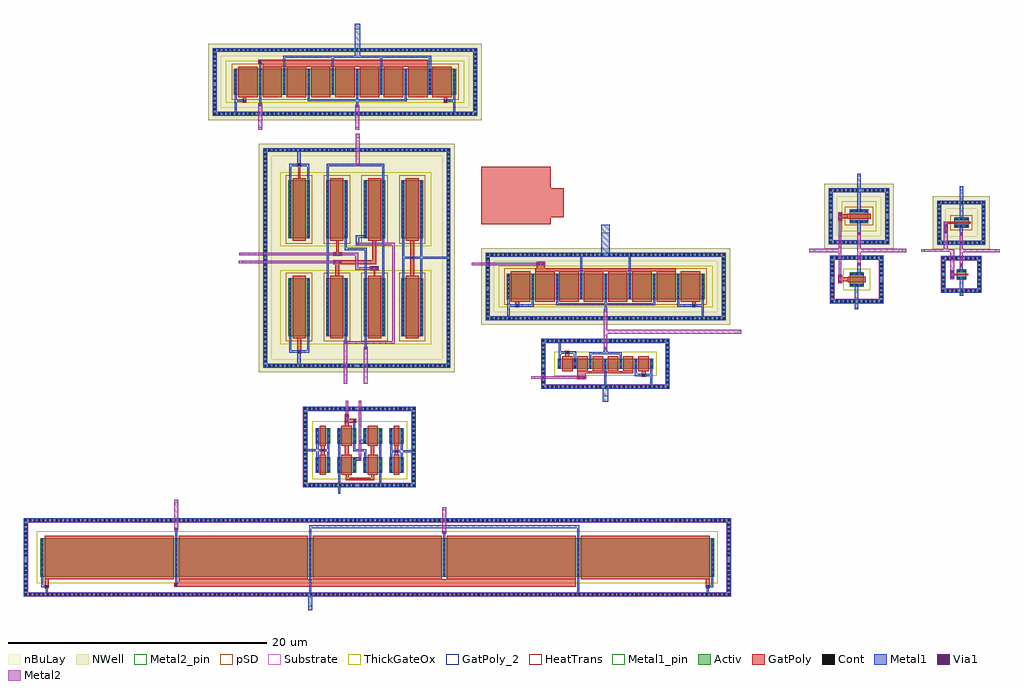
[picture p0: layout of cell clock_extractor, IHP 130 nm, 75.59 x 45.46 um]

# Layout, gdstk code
from math import pi, radians
import gdstk
lib = gdstk.Library(unit=1e-6, precision=5e-09)
def R(c, l, rs):  # rectangles x0, y0, x1, y1
    for r in rs: c.add(gdstk.rectangle(r[:2], r[2:], *l))
def A(c, l, x, y, w, h, nx, ny, dx, dy):  # array of equal rectangles
    R(c, l, [(x+i*dx, y+j*dy, x+i*dx+w, y+j*dy+h) for i in range(nx) for j in range(ny)])
def P(c, l, *ps):  # polygons
    for p in ps: c.add(gdstk.Polygon(p, *l))
Activ = (1, 0)
GatPoly = (5, 0)
GatPoly_2 = (5, 2)
Cont = (6, 0)
Metal1 = (8, 0)
Metal1_pin = (8, 2)
Metal2 = (10, 0)
Metal2_pin = (10, 2)
pSD = (14, 0)
Via1 = (19, 0)
NWell = (31, 0)
nBuLay = (32, 0)
Substrate = (40, 0)
ThickGateOx = (44, 0)
HeatTrans = (51, 0)

nmoshv_4 = lib.new_cell('nmosHV$4')
R(nmoshv_4, Activ, [(0,0,0.3,0.3), (0,0,1.48,1.2), (1.18,0,1.48,0.3)])
R(nmoshv_4, GatPoly, [(0.34,-0.18,1.14,1.38)])
R(nmoshv_4, GatPoly_2, [(0.34,-0.18,1.14,1.38)])
A(nmoshv_4, Cont, 0.07, 0.07, 0.16, 0.16, 1, 3, 0, 0.45)
A(nmoshv_4, Cont, 1.25, 0.07, 0.16, 0.16, 1, 3, 0, 0.45)
R(nmoshv_4, Metal1, [(0.07,0,0.23,1.2), (1.25,0,1.41,1.2)])
R(nmoshv_4, Metal1_pin, [(0.07,0,0.23,1.2), (1.25,0,1.41,1.2)])
R(nmoshv_4, ThickGateOx, [(-0.27,-0.52,1.75,1.72)])
R(nmoshv_4, HeatTrans, [(0.34,-0.18,1.14,1.38)])
nmoshv_4.add(gdstk.Label('nmosHV', (0.74,0.6), layer=63, texttype=0))
nmoshv_4.add(gdstk.Label('nmosHV', (0.74,0.6), layer=51, texttype=0))

nmoshv_6 = lib.new_cell('nmosHV$6')
R(nmoshv_6, Activ, [(0,0,0.3,0.3), (0,0,1.13,1.2), (0.83,0,1.13,0.3)])
R(nmoshv_6, GatPoly, [(0.34,-0.18,0.79,1.38)])
R(nmoshv_6, GatPoly_2, [(0.34,-0.18,0.79,1.38)])
A(nmoshv_6, Cont, 0.07, 0.07, 0.16, 0.16, 1, 3, 0, 0.45)
A(nmoshv_6, Cont, 0.9, 0.07, 0.16, 0.16, 1, 3, 0, 0.45)
R(nmoshv_6, Metal1, [(0.07,0,0.23,1.2), (0.9,0,1.06,1.2)])
R(nmoshv_6, Metal1_pin, [(0.07,0,0.23,1.2), (0.9,0,1.06,1.2)])
R(nmoshv_6, ThickGateOx, [(-0.27,-0.52,1.4,1.72)])
R(nmoshv_6, HeatTrans, [(0.34,-0.18,0.79,1.38)])
nmoshv_6.add(gdstk.Label('nmosHV', (0.565,0.6), layer=63, texttype=0))
nmoshv_6.add(gdstk.Label('nmosHV', (0.565,0.6), layer=51, texttype=0))

via_stack = lib.new_cell('via_stack')
R(via_stack, Metal1, [(-0.145,-0.105,0.145,0.105)])
R(via_stack, Metal2, [(-0.145,-0.1,0.145,0.1)])
R(via_stack, Via1, [(-0.095,-0.095,0.095,0.095)])

via_stack_5 = lib.new_cell('via_stack$5')
R(via_stack_5, GatPoly, [(-0.15,-0.15,0.15,0.15)])
R(via_stack_5, Cont, [(-0.08,-0.08,0.08,0.08)])
R(via_stack_5, Metal1, [(-0.13,-0.08,0.13,0.08)])

via_stack_3 = lib.new_cell('via_stack$3')
R(via_stack_3, GatPoly, [(-0.32,-0.15,0.32,0.15)])
R(via_stack_3, Cont, [(-0.25,-0.08,-0.09,0.08), (0.09,-0.08,0.25,0.08)])
R(via_stack_3, Metal1, [(-0.35,-0.105,0.35,0.105)])
R(via_stack_3, Metal2, [(-0.35,-0.1,0.35,0.1)])
R(via_stack_3, Via1, [(-0.3,-0.095,-0.11,0.095), (0.11,-0.095,0.3,0.095)])

guard_ring_6 = lib.new_cell('guard_ring$6')
R(guard_ring_6, Activ, [(-4.35,-2.8,-4.05,2.8), (4.05,-2.8,4.35,2.8), (-4.35,2.8,4.35,3.1)])
P(guard_ring_6, Activ, [(-4.35,-3.1),(-4.35,2.8),(-4.05,2.8),(-4.05,-2.8),(4.05,-2.8),(4.05,2.8),(-4.35,2.8),(-4.35,3.1),(4.35,3.1),(4.35,-3.1)])
A(guard_ring_6, Cont, -4.28, -3.03, 0.16, 0.16, 12, 2, 0.34, 5.9)
A(guard_ring_6, Cont, 0.04, -3.03, 0.16, 0.16, 13, 2, 0.34, 5.9)
A(guard_ring_6, Cont, -4.28, -2.69, 0.16, 0.16, 1, 8, 0, 0.34)
A(guard_ring_6, Cont, 4.12, -2.69, 0.16, 0.16, 1, 8, 0, 0.34)
A(guard_ring_6, Cont, -4.28, 0.15, 0.16, 0.16, 1, 8, 0, 0.34)
A(guard_ring_6, Cont, 4.12, 0.15, 0.16, 0.16, 1, 8, 0, 0.34)
R(guard_ring_6, Metal1, [(-4.35,-3.1,4.35,-2.8), (-4.35,-2.8,-4.05,2.8), (4.05,-2.8,4.35,2.8), (-4.35,2.8,4.35,3.1)])
R(guard_ring_6, pSD, [(-4.38,-2.77,-4.02,2.77), (4.02,-2.77,4.38,2.77), (-4.38,2.77,4.38,3.13)])
P(guard_ring_6, pSD, [(-4.38,-3.13),(-4.38,2.77),(-4.02,2.77),(-4.02,-2.77),(4.02,-2.77),(4.02,2.77),(-4.38,2.77),(-4.38,3.13),(4.38,3.13),(4.38,-3.13)])
R(guard_ring_6, Substrate, [(-4.38,-2.77,-4.02,2.77), (4.02,-2.77,4.38,2.77), (-4.38,2.77,4.38,3.13)])
P(guard_ring_6, Substrate, [(-4.38,-3.13),(-4.38,2.77),(-4.02,2.77),(-4.02,-2.77),(4.02,-2.77),(4.02,2.77),(-4.38,2.77),(-4.38,3.13),(4.38,3.13),(4.38,-3.13)])
guard_ring_6.add(gdstk.Label('sub!', (0,-2.95), layer=63, texttype=0))

current_mirror_loadn = lib.new_cell('current_mirror_loadN')
R(current_mirror_loadn, GatPoly, [(-0.515,-1.78,-0.26,-1.165), (-0.515,-1.78,1.705,-1.565), (1.465,-1.78,1.705,-1.165), (-2.43,0.035,-2.13,1.075), (-0.565,0.035,-0.265,1.075), (1.42,0.035,1.72,1.075), (3.285,0.035,3.585,1.075), (-0.565,2.455,-0.265,3.35)])
P(current_mirror_loadn, GatPoly, [(-0.565,2.68),(-0.565,2.98),(0.31,2.98),(0.31,2.68),(0.27,2.68)])
R(current_mirror_loadn, Metal1, [(-1.1,-2.805,-0.94,-0.935), (2.1,-2.29,2.26,-0.935), (0.08,-0.255,0.7,0.035), (-1.94,-0.205,-1.78,1.305), (-2.77,-0.195,-2.61,1.305), (-1.1,-0.195,-0.94,1.305), (0.92,-0.195,1.08,0.64), (2.1,-0.195,2.26,1.305), (2.94,-0.195,3.1,1.305), (3.77,-0.195,3.93,1.305), (2.94,0.385,3.585,0.545), (3.305,0.385,4.91,0.545), (0.08,0.475,1.08,0.64), (0.08,0.475,0.24,1.305), (-3.79,0.485,-1.78,0.645), (0.49,1.075,1.08,1.365), (0.08,2.275,0.24,2.7)])
R(current_mirror_loadn, Metal1_pin, [(-1.095,-2.805,-0.94,-2.65)])
R(current_mirror_loadn, Metal2, [(0.495,-0.255,0.695,1.285), (0.495,0.995,0.695,4.38), (-0.515,2.68,-0.315,4.395)])
R(current_mirror_loadn, Metal2_pin, [(-0.515,4.19,-0.315,4.395)])
P(current_mirror_loadn, Metal2_pin, [(0.495,4.195),(0.495,4.38),(0.695,4.38),(0.695,4.195),(0.645,4.195)])
current_mirror_loadn.add(gdstk.Reference(nmoshv_4, (0.85,1.075)))
current_mirror_loadn.add(gdstk.Reference(nmoshv_4, (-1.17,1.075)))
current_mirror_loadn.add(gdstk.Reference(nmoshv_6, (2.87,1.075)))
current_mirror_loadn.add(gdstk.Reference(nmoshv_6, (2.87,-1.165)))
current_mirror_loadn.add(gdstk.Reference(nmoshv_6, (-2.84,1.075)))
current_mirror_loadn.add(gdstk.Reference(nmoshv_6, (-2.84,-1.165)))
current_mirror_loadn.add(gdstk.Reference(nmoshv_4, (-1.17,-1.165)))
current_mirror_loadn.add(gdstk.Reference(via_stack, (0.595,-0.11), rotation=3*pi/2))
current_mirror_loadn.add(gdstk.Reference(nmoshv_4, (0.85,-1.165)))
current_mirror_loadn.add(gdstk.Reference(via_stack_5, (3.435,0.465)))
current_mirror_loadn.add(gdstk.Reference(via_stack_5, (-2.28,0.565)))
current_mirror_loadn.add(gdstk.Reference(via_stack, (0.595,1.22), rotation=3*pi/2))
current_mirror_loadn.add(gdstk.Reference(via_stack_5, (0.16,2.83), rotation=3*pi/2))
current_mirror_loadn.add(gdstk.Reference(via_stack_3, (-0.415,3.03), rotation=3*pi/2))
current_mirror_loadn.add(gdstk.Reference(guard_ring_6, (0.56,0.81)))
current_mirror_loadn.add(gdstk.Label('VSS', (-0.92,-2.835), layer=8, texttype=0))
current_mirror_loadn.add(gdstk.Label('drain_M11', (-0.285,4.385), layer=10, texttype=0))
current_mirror_loadn.add(gdstk.Label('drain_M10', (0.72,4.36), layer=10, texttype=0))

pmoshv_2 = lib.new_cell('pmosHV$2')
R(pmoshv_2, Activ, [(0,0,0.3,0.3), (0,0,1.68,4.5), (1.38,0,1.68,0.3)])
R(pmoshv_2, GatPoly, [(0.34,-0.18,1.34,4.68)])
R(pmoshv_2, GatPoly_2, [(0.34,-0.18,1.34,4.68)])
A(pmoshv_2, Cont, 0.07, 0.07, 0.16, 0.16, 1, 13, 0, 0.35)
A(pmoshv_2, Cont, 1.45, 0.07, 0.16, 0.16, 1, 13, 0, 0.35)
R(pmoshv_2, Metal1, [(0.07,0,0.23,4.5), (1.45,0,1.61,4.5)])
R(pmoshv_2, Metal1_pin, [(0.07,0,0.23,4.5), (1.45,0,1.61,4.5)])
R(pmoshv_2, pSD, [(-0.18,-0.4,1.86,4.9)])
R(pmoshv_2, NWell, [(-0.62,-0.62,2.3,5.12)])
R(pmoshv_2, Substrate, [(1.38,0,1.68,0.3)])
R(pmoshv_2, ThickGateOx, [(-0.62,-0.62,2.3,5.12)])
R(pmoshv_2, HeatTrans, [(0.34,-0.18,1.34,4.68)])
pmoshv_2.add(gdstk.Label('pmosHV', (0.84,2.25), layer=63, texttype=0))
pmoshv_2.add(gdstk.Label('pmos', (0.84,2.25), layer=51, texttype=0))

guard_ring_5 = lib.new_cell('guard_ring$5')
R(guard_ring_5, Activ, [(-7.25,-8.2,-6.95,8.2), (6.95,-8.2,7.25,8.2), (-7.25,8.2,7.25,8.5)])
P(guard_ring_5, Activ, [(-7.25,-8.5),(-7.25,8.2),(-6.95,8.2),(-6.95,-8.2),(6.95,-8.2),(6.95,8.2),(-7.25,8.2),(-7.25,8.5),(7.25,8.5),(7.25,-8.5)])
A(guard_ring_5, Cont, -7.18, -8.43, 0.16, 0.16, 21, 2, 0.34, 16.7)
A(guard_ring_5, Cont, 0.22, -8.43, 0.16, 0.16, 21, 2, 0.34, 16.7)
A(guard_ring_5, Cont, -7.18, -8.09, 0.16, 0.16, 1, 24, 0, 0.34)
A(guard_ring_5, Cont, 7.02, -8.09, 0.16, 0.16, 1, 24, 0, 0.34)
A(guard_ring_5, Cont, -7.18, 0.11, 0.16, 0.16, 1, 24, 0, 0.34)
A(guard_ring_5, Cont, 7.02, 0.11, 0.16, 0.16, 1, 24, 0, 0.34)
R(guard_ring_5, Metal1, [(-7.25,-8.5,7.25,-8.2), (-7.25,-8.2,-6.95,8.2), (6.95,-8.2,7.25,8.2), (-7.25,8.2,7.25,8.5)])
R(guard_ring_5, NWell, [(-7.6,-8.85,7.6,8.85)])
R(guard_ring_5, nBuLay, [(-7.6,-7.85,-6.6,7.85), (6.6,-7.85,7.6,7.85), (-7.6,7.85,7.6,8.85)])
P(guard_ring_5, nBuLay, [(-7.6,-8.85),(-7.6,7.85),(-6.6,7.85),(-6.6,-7.85),(6.6,-7.85),(6.6,7.85),(-7.6,7.85),(-7.6,8.85),(7.6,8.85),(7.6,-8.85)])
guard_ring_5.add(gdstk.Label('well', (0,-8.35), layer=63, texttype=0))

iput_diff = lib.new_cell('iput_diff')
R(iput_diff, GatPoly, [(1.125,2.14,1.27,2.975), (-1.83,2.555,-1.53,3.76), (3.96,2.555,4.26,5.26), (0.87,2.975,1.51,3.275), (-2,3.46,1.345,3.76), (1.025,3.76,1.345,5.735), (-1.995,4.08,-1.355,4.38), (-1.78,4.38,-1.575,5.26), (-4.72,10.12,-4.565,10.98), (-4.79,10.98,-4.49,11.28)])
P(iput_diff, GatPoly, [(-4.79,-3.465),(-4.79,-1.83),(-4.535,-1.83),(-4.49,-1.83),(-4.49,-3.465)])
R(iput_diff, Metal1, [(-4.77,-4.56,-4.51,-3.235), (-5.41,-3.395,-5.25,-1.895), (-5.41,-3.395,-4.77,-3.235), (-4.51,-3.395,-3.87,-3.235), (-4.03,-3.395,-3.87,-1.895), (0.365,-3.08,0.655,-2.935), (0.43,-2.935,0.59,-1.895), (-1.19,-2.71,-0.9,-2.505), (-1.11,-2.5,-0.95,-1.895), (-2.49,2.145,-2.33,5.67), (0.43,2.145,0.59,4.715), (1.81,2.145,1.97,5.44), (3.35,2.145,3.51,4.02), (4.73,2.145,4.89,4.02), (3.35,3.86,3.98,4.02), (3.35,3.86,3.51,5.67), (3.98,3.86,7.075,4.02), (4.73,3.86,4.89,5.67), (-1.11,4.535,-0.95,5.67), (-1.11,4.535,0.59,4.715), (-0.27,4.915,0.02,5.67), (-0.27,5.51,0.59,5.67), (-5.41,9.71,-5.25,11.21), (-4.03,9.71,-3.87,11.21), (-2.49,9.71,-2.33,11.24), (1.81,9.71,1.97,11.24), (-2.49,11.03,1.97,11.24), (-5.41,11.05,-4.51,11.21), (-4.77,11.05,-4.51,11.21), (-4.77,11.05,-3.87,11.21), (-4.77,11.05,-4.51,12.44)])
R(iput_diff, Metal2, [(-1.19,-5.82,-0.9,-5.53), (-1.19,-5.82,-0.9,-2.505), (0.365,-5.82,0.655,-2.94), (0.365,-5.82,0.655,-5.53), (-1.19,-2.705,2.77,-2.505), (2.57,-2.705,2.77,5.115), (-0.295,3.025,1.54,3.225), (-0.295,3.025,-0.06,4.33), (-9.315,3.51,-1.33,3.71), (-9.295,4.13,-0.06,4.33), (-0.27,4.915,2.77,5.115), (-0.25,11.035,0.04,13.55)])
R(iput_diff, Metal2_pin, [(-9.295,4.13,-9.015,4.33), (-0.25,13.235,0.04,13.55)])
P(iput_diff, Metal2_pin, [(-9.315,3.51),(-9.315,3.58),(-9.315,3.71),(-9.02,3.71),(-9.02,3.51)])
iput_diff.add(gdstk.Reference(pmoshv_2, (-2.56,5.44)))
iput_diff.add(gdstk.Reference(pmoshv_2, (0.36,5.44)))
iput_diff.add(gdstk.Reference(pmoshv_2, (-2.56,-2.125)))
iput_diff.add(gdstk.Reference(pmoshv_2, (0.36,-2.125)))
iput_diff.add(gdstk.Reference(pmoshv_2, (3.28,5.44)))
iput_diff.add(gdstk.Reference(pmoshv_2, (-5.48,-2.125)))
iput_diff.add(gdstk.Reference(pmoshv_2, (-5.48,5.44)))
iput_diff.add(gdstk.Reference(pmoshv_2, (3.28,-2.125)))
iput_diff.add(gdstk.Reference(via_stack, (-0.105,11.135)))
iput_diff.add(gdstk.Reference(via_stack_3, (-1.675,4.23)))
iput_diff.add(gdstk.Reference(via_stack_3, (1.19,3.125)))
iput_diff.add(gdstk.Reference(via_stack_3, (-1.68,3.61)))
iput_diff.add(gdstk.Reference(via_stack, (0.51,-3.04), rotation=pi))
iput_diff.add(gdstk.Reference(via_stack, (-0.125,5.015)))
iput_diff.add(gdstk.Reference(via_stack, (-1.045,-2.605), rotation=pi))
iput_diff.add(gdstk.Reference(guard_ring_5, (-0.175,3.94)))
iput_diff.add(gdstk.Reference(via_stack_5, (-4.64,11.13)))
iput_diff.add(gdstk.Reference(via_stack_5, (4.11,3.94)))
iput_diff.add(gdstk.Reference(via_stack_5, (-4.64,-3.315), rotation=pi))
iput_diff.add(gdstk.Label('drain_M5', (0.695,-5.83), layer=10, texttype=0))
iput_diff.add(gdstk.Label('drain_M3', (-0.88,-5.815), layer=10, texttype=0))
iput_diff.add(gdstk.Label('gate_M5', (-9.31,4.375), layer=10, texttype=0))
iput_diff.add(gdstk.Label('gate_M3', (-9.35,3.485), layer=10, texttype=0))
iput_diff.add(gdstk.Label('source_M3_M5', (0.08,13.55), layer=10, texttype=0))

pmoshv = lib.new_cell('pmosHV')
A(pmoshv, Activ, 0, 0, 0.3, 0.3, 10, 1, 1.88, 0)
R(pmoshv, Activ, [(-1.62,-1.32,-1.32,3.32), (18.54,-1.32,18.84,3.32), (0,0,17.22,2), (-1.62,3.32,18.84,3.62)])
P(pmoshv, Activ, [(-1.62,-1.62),(-1.62,3.32),(-1.32,3.32),(-1.32,-1.32),(18.54,-1.32),(18.54,3.32),(-1.62,3.32),(-1.62,3.62),(18.84,3.62),(18.84,-1.62)])
A(pmoshv, GatPoly, 0.34, -0.18, 1.5, 2.36, 9, 1, 1.88, 0)
R(pmoshv, GatPoly_2, [(0.34,-0.18,1.84,2.18)])
A(pmoshv, Cont, -1.55, -1.55, 0.16, 0.16, 30, 2, 0.34, 4.94)
A(pmoshv, Cont, 8.75, -1.55, 0.16, 0.16, 30, 2, 0.34, 4.94)
A(pmoshv, Cont, -1.55, -1.21, 0.16, 0.16, 1, 6, 0, 0.34)
A(pmoshv, Cont, 18.61, -1.21, 0.16, 0.16, 1, 6, 0, 0.34)
A(pmoshv, Cont, 0.07, 0.07, 0.16, 0.16, 10, 6, 1.88, 0.34)
A(pmoshv, Cont, -1.55, 1.01, 0.16, 0.16, 1, 7, 0, 0.34)
A(pmoshv, Cont, 18.61, 1.01, 0.16, 0.16, 1, 7, 0, 0.34)
A(pmoshv, Metal1, 0.07, 0, 0.16, 2, 10, 1, 1.88, 0)
R(pmoshv, Metal1, [(-1.62,-1.62,18.84,-1.32), (-1.62,-1.32,-1.32,3.32), (18.54,-1.32,18.84,3.32), (-1.62,3.32,18.84,3.62)])
R(pmoshv, Metal1_pin, [(0.07,0,0.23,2), (1.95,0,2.11,2)])
R(pmoshv, pSD, [(-0.18,-0.4,17.4,2.4)])
R(pmoshv, NWell, [(-1.97,-1.97,19.19,3.97), (-0.62,-0.62,17.84,2.62)])
R(pmoshv, nBuLay, [(-1.97,-0.97,-0.97,2.97), (18.19,-0.97,19.19,2.97), (-1.97,2.97,19.19,3.97)])
P(pmoshv, nBuLay, [(-1.97,-1.97),(-1.97,2.97),(-0.97,2.97),(-0.97,-0.97),(18.19,-0.97),(18.19,2.97),(-1.97,2.97),(-1.97,3.97),(19.19,3.97),(19.19,-1.97)])
R(pmoshv, Substrate, [(16.92,0,17.22,0.3)])
R(pmoshv, ThickGateOx, [(-0.62,-0.62,17.84,2.62)])
A(pmoshv, HeatTrans, 0.34, -0.18, 1.5, 2.36, 9, 1, 1.88, 0)
pmoshv.add(gdstk.Label('pmosHV', (1.09,1), layer=63, texttype=0))
pmoshv.add(gdstk.Label('well', (8.61,-1.47), layer=63, texttype=0))
pmoshv.add(gdstk.Label('pmos', (1.09,1), layer=51, texttype=0))
pmoshv.add(gdstk.Label('pmos', (2.97,1), layer=51, texttype=0))
pmoshv.add(gdstk.Label('pmos', (4.85,1), layer=51, texttype=0))
pmoshv.add(gdstk.Label('pmos', (6.73,1), layer=51, texttype=0))
pmoshv.add(gdstk.Label('pmos', (8.61,1), layer=51, texttype=0))
pmoshv.add(gdstk.Label('pmos', (10.49,1), layer=51, texttype=0))
pmoshv.add(gdstk.Label('pmos', (12.37,1), layer=51, texttype=0))
pmoshv.add(gdstk.Label('pmos', (14.25,1), layer=51, texttype=0))
pmoshv.add(gdstk.Label('pmos', (16.13,1), layer=51, texttype=0))

current_mirror3 = lib.new_cell('current_mirror3')
R(current_mirror3, GatPoly, [(0.275,0.595,0.575,1.215), (0.275,0.595,0.575,1.215), (15.845,0.595,16.145,1.215), (15.845,0.595,16.145,1.215), (1.82,3.395,14.6,3.915), (1.48,3.615,2.02,3.915)])
R(current_mirror3, Metal1, [(16.59,-0.405,16.75,0.825), (-0.33,-0.3,-0.17,0.825), (9.005,0.24,9.295,0.45), (9.07,0.24,9.23,1.445), (1.49,0.345,1.78,0.555), (1.55,0.345,1.71,1.445), (-0.33,0.665,0.555,0.825), (-0.33,0.665,0.555,0.825), (-0.33,0.665,-0.17,1.445), (-0.33,0.665,-0.17,1.445), (15.865,0.665,16.75,0.825), (15.865,0.665,16.75,0.825), (16.59,0.665,16.75,1.445), (16.59,0.665,16.75,1.445), (5.31,0.725,12.99,0.885), (5.31,0.725,5.47,1.445), (12.83,0.725,12.99,1.445), (10.95,2.98,11.11,4.25), (1.55,2.985,1.71,3.895), (3.43,2.985,3.59,4.25), (7.19,2.985,7.35,4.25), (14.71,2.985,14.87,4.25), (3.43,4.08,14.87,4.25), (8.95,4.08,9.4,6.735)])
R(current_mirror3, Metal1_pin, [(8.95,6.28,9.4,6.735)])
R(current_mirror3, Metal2, [(1.49,-1.505,1.78,0.55), (9.005,-1.5,9.295,0.445)])
R(current_mirror3, Metal2_pin, [(1.49,-1.505,1.78,-1.285), (9.005,-1.5,9.295,-1.295)])
current_mirror3.add(gdstk.Reference(pmoshv, (-0.4,1.215)))
current_mirror3.add(gdstk.Reference(via_stack, (9.15,0.345)))
current_mirror3.add(gdstk.Reference(via_stack_5, (15.995,0.745)))
current_mirror3.add(gdstk.Reference(via_stack_5, (15.995,0.745)))
current_mirror3.add(gdstk.Reference(via_stack_5, (0.425,0.745), rotation=pi, x_reflection=True))
current_mirror3.add(gdstk.Reference(via_stack_5, (0.425,0.745), rotation=pi, x_reflection=True))
current_mirror3.add(gdstk.Reference(via_stack_5, (1.63,3.765), rotation=3*pi/2))
current_mirror3.add(gdstk.Reference(via_stack, (1.635,0.45)))
current_mirror3.add(gdstk.Label('VDD', (9.42,6.71), layer=8, texttype=0))
current_mirror3.add(gdstk.Label('drain_M1', (9.335,-1.395), layer=10, texttype=0))
current_mirror3.add(gdstk.Label('drain_M4', (1.735,-1.505), layer=10, texttype=0))

nmoshv = lib.new_cell('nmosHV')
A(nmoshv, Activ, 0, 0, 0.3, 0.3, 6, 1, 10.38, 0)
R(nmoshv, Activ, [(-1.27,-1.22,-0.97,4.22), (53.17,-1.22,53.47,4.22), (0,0,52.2,3), (-1.27,4.22,53.47,4.52)])
P(nmoshv, Activ, [(-1.27,-1.52),(-1.27,4.22),(-0.97,4.22),(-0.97,-1.22),(53.17,-1.22),(53.17,4.22),(-1.27,4.22),(-1.27,4.52),(53.47,4.52),(53.47,-1.52)])
A(nmoshv, GatPoly, 0.34, -0.18, 10, 3.36, 5, 1, 10.38, 0)
R(nmoshv, GatPoly_2, [(0.34,-0.18,10.34,3.18)])
A(nmoshv, Cont, -1.2, -1.45, 0.16, 0.16, 80, 2, 0.34, 5.74)
A(nmoshv, Cont, 26.04, -1.45, 0.16, 0.16, 81, 2, 0.34, 5.74)
A(nmoshv, Cont, -1.2, -1.11, 0.16, 0.16, 1, 7, 0, 0.34)
A(nmoshv, Cont, 53.24, -1.11, 0.16, 0.16, 1, 7, 0, 0.34)
A(nmoshv, Cont, 0.07, 0.07, 0.16, 0.16, 6, 7, 10.38, 0.385)
A(nmoshv, Cont, -1.2, 1.57, 0.16, 0.16, 1, 8, 0, 0.34)
A(nmoshv, Cont, 53.24, 1.57, 0.16, 0.16, 1, 8, 0, 0.34)
A(nmoshv, Cont, 0.07, 2.77, 0.16, 0.16, 6, 1, 10.38, 0)
A(nmoshv, Metal1, 0.07, 0, 0.16, 3, 6, 1, 10.38, 0)
R(nmoshv, Metal1, [(-1.27,-1.52,53.47,-1.22), (-1.27,-1.22,-0.97,4.22), (53.17,-1.22,53.47,4.22), (-1.27,4.22,53.47,4.52)])
R(nmoshv, Metal1_pin, [(0.07,0,0.23,3), (10.45,0,10.61,3)])
R(nmoshv, pSD, [(-1.3,-1.19,-0.94,4.19), (53.14,-1.19,53.5,4.19), (-1.3,4.19,53.5,4.55)])
P(nmoshv, pSD, [(-1.3,-1.55),(-1.3,4.19),(-0.94,4.19),(-0.94,-1.19),(53.14,-1.19),(53.14,4.19),(-1.3,4.19),(-1.3,4.55),(53.5,4.55),(53.5,-1.55)])
R(nmoshv, Substrate, [(-1.3,-1.19,-0.94,4.19), (53.14,-1.19,53.5,4.19), (-1.3,4.19,53.5,4.55)])
P(nmoshv, Substrate, [(-1.3,-1.55),(-1.3,4.19),(-0.94,4.19),(-0.94,-1.19),(53.14,-1.19),(53.14,4.19),(-1.3,4.19),(-1.3,4.55),(53.5,4.55),(53.5,-1.55)])
R(nmoshv, ThickGateOx, [(-0.27,-0.52,52.47,3.52)])
A(nmoshv, HeatTrans, 0.34, -0.18, 10, 3.36, 5, 1, 10.38, 0)
nmoshv.add(gdstk.Label('nmosHV', (5.34,1.5), layer=63, texttype=0))
nmoshv.add(gdstk.Label('sub!', (26.1,-1.37), layer=63, texttype=0))
nmoshv.add(gdstk.Label('nmosHV', (5.34,1.5), layer=51, texttype=0))
nmoshv.add(gdstk.Label('nmosHV', (15.72,1.5), layer=51, texttype=0))
nmoshv.add(gdstk.Label('nmosHV', (26.1,1.5), layer=51, texttype=0))
nmoshv.add(gdstk.Label('nmosHV', (36.48,1.5), layer=51, texttype=0))
nmoshv.add(gdstk.Label('nmosHV', (46.86,1.5), layer=51, texttype=0))

current_mirror2 = lib.new_cell('current_mirror2')
R(current_mirror2, GatPoly, [(-11.475,-0.645,-11.175,0.05), (39.745,-0.645,40.045,0.23), (-1.435,-0.525,-1.095,-0.225), (-1.095,-0.525,29.665,0.05)])
R(current_mirror2, Metal1, [(8.925,-2.38,9.255,-0.99), (-11.405,-1.29,-11.245,-0.575), (9.015,-1.29,9.17,0.23), (29.775,-1.29,29.935,0.23), (39.815,-1.29,39.975,-0.575), (-11.745,-0.575,-11.195,-0.415), (-11.745,-0.575,-11.585,0.23), (39.765,-0.575,40.315,-0.415), (40.155,-0.575,40.315,0.23), (-1.365,-0.505,-1.205,0.23), (-1.365,3.23,-1.205,4.045), (9.015,3.23,9.175,4.205), (19.395,3.23,19.555,3.77), (29.775,3.23,29.935,4.205), (9.015,4,29.935,4.205)])
R(current_mirror2, Metal1_pin, [(8.925,-2.38,9.255,-2)])
R(current_mirror2, Metal2, [(19.325,3.565,19.615,5.615), (-1.435,3.84,-1.145,6.195)])
R(current_mirror2, Metal2_pin, [(19.325,5.39,19.615,5.615)])
P(current_mirror2, Metal2_pin, [(-1.435,5.97),(-1.435,6.195),(-1.27,6.195),(-1.145,6.195),(-1.145,5.97),(-1.245,5.97)])
current_mirror2.add(gdstk.Reference(via_stack_5, (39.895,-0.495)))
current_mirror2.add(gdstk.Reference(nmoshv, (-11.815,0.23)))
current_mirror2.add(gdstk.Reference(via_stack_5, (-11.325,-0.495), rotation=pi, x_reflection=True))
current_mirror2.add(gdstk.Reference(via_stack_5, (-1.285,-0.375), rotation=3*pi/2))
current_mirror2.add(gdstk.Reference(via_stack, (19.47,3.665), rotation=pi))
current_mirror2.add(gdstk.Reference(via_stack, (-1.29,3.94), rotation=pi))
current_mirror2.add(gdstk.Label('VSS_M31_M32', (9.185,-2.4), layer=8, texttype=0))
current_mirror2.add(gdstk.Label('drain_M32', (-1.16,6.21), layer=10, texttype=0))
current_mirror2.add(gdstk.Label('drain_M31', (19.62,5.615), layer=10, texttype=0))

pmoshv_5 = lib.new_cell('pmosHV$5')
A(pmoshv_5, Activ, 0, 0, 0.3, 0.3, 9, 1, 1.88, 0)
R(pmoshv_5, Activ, [(-1.62,-1.32,-1.32,3.32), (16.66,-1.32,16.96,3.32), (0,0,15.34,2), (-1.62,3.32,16.96,3.62)])
P(pmoshv_5, Activ, [(-1.62,-1.62),(-1.62,3.32),(-1.32,3.32),(-1.32,-1.32),(16.66,-1.32),(16.66,3.32),(-1.62,3.32),(-1.62,3.62),(16.96,3.62),(16.96,-1.62)])
A(pmoshv_5, GatPoly, 0.34, -0.18, 1.5, 2.36, 8, 1, 1.88, 0)
R(pmoshv_5, GatPoly_2, [(0.34,-0.18,1.84,2.18)])
A(pmoshv_5, Cont, -1.55, -1.55, 0.16, 0.16, 27, 2, 0.34, 4.94)
A(pmoshv_5, Cont, 7.89, -1.55, 0.16, 0.16, 27, 2, 0.34, 4.94)
A(pmoshv_5, Cont, -1.55, -1.21, 0.16, 0.16, 1, 6, 0, 0.34)
A(pmoshv_5, Cont, 16.73, -1.21, 0.16, 0.16, 1, 6, 0, 0.34)
A(pmoshv_5, Cont, 0.07, 0.07, 0.16, 0.16, 9, 6, 1.88, 0.34)
A(pmoshv_5, Cont, -1.55, 1.01, 0.16, 0.16, 1, 7, 0, 0.34)
A(pmoshv_5, Cont, 16.73, 1.01, 0.16, 0.16, 1, 7, 0, 0.34)
A(pmoshv_5, Metal1, 0.07, 0, 0.16, 2, 9, 1, 1.88, 0)
R(pmoshv_5, Metal1, [(-1.62,-1.62,16.96,-1.32), (-1.62,-1.32,-1.32,3.32), (16.66,-1.32,16.96,3.32), (-1.62,3.32,16.96,3.62)])
R(pmoshv_5, Metal1_pin, [(0.07,0,0.23,2), (1.95,0,2.11,2)])
R(pmoshv_5, pSD, [(-0.18,-0.4,15.52,2.4)])
R(pmoshv_5, NWell, [(-1.97,-1.97,17.31,3.97), (-0.62,-0.62,15.96,2.62)])
R(pmoshv_5, nBuLay, [(-1.97,-0.97,-0.97,2.97), (16.31,-0.97,17.31,2.97), (-1.97,2.97,17.31,3.97)])
P(pmoshv_5, nBuLay, [(-1.97,-1.97),(-1.97,2.97),(-0.97,2.97),(-0.97,-0.97),(16.31,-0.97),(16.31,2.97),(-1.97,2.97),(-1.97,3.97),(17.31,3.97),(17.31,-1.97)])
R(pmoshv_5, Substrate, [(15.04,0,15.34,0.3)])
R(pmoshv_5, ThickGateOx, [(-0.62,-0.62,15.96,2.62)])
A(pmoshv_5, HeatTrans, 0.34, -0.18, 1.5, 2.36, 8, 1, 1.88, 0)
pmoshv_5.add(gdstk.Label('pmosHV', (1.09,1), layer=63, texttype=0))
pmoshv_5.add(gdstk.Label('well', (7.67,-1.47), layer=63, texttype=0))
pmoshv_5.add(gdstk.Label('pmos', (1.09,1), layer=51, texttype=0))
pmoshv_5.add(gdstk.Label('pmos', (2.97,1), layer=51, texttype=0))
pmoshv_5.add(gdstk.Label('pmos', (4.85,1), layer=51, texttype=0))
pmoshv_5.add(gdstk.Label('pmos', (6.73,1), layer=51, texttype=0))
pmoshv_5.add(gdstk.Label('pmos', (8.61,1), layer=51, texttype=0))
pmoshv_5.add(gdstk.Label('pmos', (10.49,1), layer=51, texttype=0))
pmoshv_5.add(gdstk.Label('pmos', (12.37,1), layer=51, texttype=0))
pmoshv_5.add(gdstk.Label('pmos', (14.25,1), layer=51, texttype=0))

via_stack_1 = lib.new_cell('via_stack$1')
R(via_stack_1, GatPoly, [(-0.15,-0.32,0.15,0.32)])
R(via_stack_1, Cont, [(-0.08,-0.25,0.08,-0.09), (-0.08,0.09,0.08,0.25)])
R(via_stack_1, Metal1, [(-0.105,-0.35,0.105,0.35)])
R(via_stack_1, Metal2, [(-0.1,-0.35,0.1,0.35)])
R(via_stack_1, Via1, [(-0.095,-0.3,0.095,-0.11), (-0.095,0.11,0.095,0.3)])

nmoshv_9 = lib.new_cell('nmosHV$9')
A(nmoshv_9, Activ, 0, 0, 0.3, 0.3, 7, 1, 1.18, 0)
R(nmoshv_9, Activ, [(-1.27,-1.22,-0.97,2.02), (8.35,-1.22,8.65,2.02), (0,0,7.38,0.8), (-1.27,2.02,8.65,2.32)])
P(nmoshv_9, Activ, [(-1.27,-1.52),(-1.27,2.02),(-0.97,2.02),(-0.97,-1.22),(8.35,-1.22),(8.35,2.02),(-1.27,2.02),(-1.27,2.32),(8.65,2.32),(8.65,-1.52)])
A(nmoshv_9, GatPoly, 0.34, -0.18, 0.8, 1.16, 6, 1, 1.18, 0)
R(nmoshv_9, GatPoly_2, [(0.34,-0.18,1.14,0.98)])
A(nmoshv_9, Cont, -1.2, -1.45, 0.16, 0.16, 14, 2, 0.34, 3.54)
A(nmoshv_9, Cont, 3.66, -1.45, 0.16, 0.16, 15, 2, 0.34, 3.54)
A(nmoshv_9, Cont, -1.2, -1.11, 0.16, 0.16, 1, 4, 0, 0.34)
A(nmoshv_9, Cont, 8.42, -1.11, 0.16, 0.16, 1, 4, 0, 0.34)
A(nmoshv_9, Cont, 0.07, 0.07, 0.16, 0.16, 7, 2, 1.18, 0.5)
A(nmoshv_9, Cont, -1.2, 0.39, 0.16, 0.16, 1, 5, 0, 0.34)
A(nmoshv_9, Cont, 8.42, 0.39, 0.16, 0.16, 1, 5, 0, 0.34)
A(nmoshv_9, Metal1, 0.07, 0, 0.16, 0.8, 7, 1, 1.18, 0)
R(nmoshv_9, Metal1, [(-1.27,-1.52,8.65,-1.22), (-1.27,-1.22,-0.97,2.02), (8.35,-1.22,8.65,2.02), (-1.27,2.02,8.65,2.32)])
R(nmoshv_9, Metal1_pin, [(0.07,0,0.23,0.8), (1.25,0,1.41,0.8)])
R(nmoshv_9, pSD, [(-1.3,-1.19,-0.94,1.99), (8.32,-1.19,8.68,1.99), (-1.3,1.99,8.68,2.35)])
P(nmoshv_9, pSD, [(-1.3,-1.55),(-1.3,1.99),(-0.94,1.99),(-0.94,-1.19),(8.32,-1.19),(8.32,1.99),(-1.3,1.99),(-1.3,2.35),(8.68,2.35),(8.68,-1.55)])
R(nmoshv_9, Substrate, [(-1.3,-1.19,-0.94,1.99), (8.32,-1.19,8.68,1.99), (-1.3,1.99,8.68,2.35)])
P(nmoshv_9, Substrate, [(-1.3,-1.55),(-1.3,1.99),(-0.94,1.99),(-0.94,-1.19),(8.32,-1.19),(8.32,1.99),(-1.3,1.99),(-1.3,2.35),(8.68,2.35),(8.68,-1.55)])
R(nmoshv_9, ThickGateOx, [(-0.27,-0.52,7.65,1.32)])
A(nmoshv_9, HeatTrans, 0.34, -0.18, 0.8, 1.16, 6, 1, 1.18, 0)
nmoshv_9.add(gdstk.Label('nmosHV', (0.74,0.4), layer=63, texttype=0))
nmoshv_9.add(gdstk.Label('sub!', (3.69,-1.37), layer=63, texttype=0))
nmoshv_9.add(gdstk.Label('nmosHV', (0.74,0.4), layer=51, texttype=0))
nmoshv_9.add(gdstk.Label('nmosHV', (1.92,0.4), layer=51, texttype=0))
nmoshv_9.add(gdstk.Label('nmosHV', (3.1,0.4), layer=51, texttype=0))
nmoshv_9.add(gdstk.Label('nmosHV', (4.28,0.4), layer=51, texttype=0))
nmoshv_9.add(gdstk.Label('nmosHV', (5.46,0.4), layer=51, texttype=0))
nmoshv_9.add(gdstk.Label('nmosHV', (6.64,0.4), layer=51, texttype=0))

c_2stage_ota = lib.new_cell('2stage_ota')
R(c_2stage_ota, GatPoly, [(5.11,-5.54,5.755,-4.72), (10.1,-5.34,10.4,-4.72), (5.11,-5.07,9.45,-4.9), (4.16,-3.92,4.46,-3.3), (0.295,0.04,0.595,0.66), (0.295,0.04,0.595,0.66), (13.985,0.04,14.285,0.66), (13.985,0.04,14.285,0.66), (1.84,2.84,12.74,3.06), (1.945,2.84,2.59,3.565)])
R(c_2stage_ota, Metal1, [(7.065,-7.25,7.5,-5.94), (7.2,-6.24,7.36,-4.49), (10.74,-6.24,10.9,-5.11), (9.56,-5.27,9.72,-4.49), (9.56,-5.27,10.9,-5.11), (10.74,-5.27,10.9,-4.49), (3.66,-4.15,3.82,-3.37), (4.84,-4.15,5,-3.37), (8.38,-4.15,8.54,-3.425), (6.02,-4.14,6.18,-3.425), (6.02,-3.585,8.54,-3.425), (7.145,-3.585,7.435,-3.06), (3.66,-3.53,5,-3.37), (3.66,-3.53,3.82,-2.4), (-0.31,-0.96,-0.15,0.27), (14.73,-0.96,14.89,0.27), (7.145,-0.29,7.435,-0.08), (7.21,-0.29,7.37,0.89), (-0.31,0.11,0.575,0.27), (-0.31,0.11,0.575,0.27), (-0.31,0.11,-0.15,0.89), (-0.31,0.11,-0.15,0.89), (0.315,0.11,1.73,0.27), (1.57,0.11,1.73,0.89), (12.85,0.11,13.01,0.89), (12.85,0.11,14.265,0.27), (14.005,0.11,14.89,0.27), (14.005,0.11,14.89,0.27), (14.73,0.11,14.89,0.89), (14.73,0.11,14.89,0.89), (3.45,0.2,3.61,0.89), (3.45,0.2,11.13,0.36), (10.97,0.2,11.13,0.89), (5.33,2.43,5.49,4.28), (9.09,2.43,9.25,4.28), (6.965,3.98,7.605,6.435)])
R(c_2stage_ota, Metal1_pin, [(7.065,-7.25,7.5,-6.805), (6.965,5.805,7.605,6.435)])
R(c_2stage_ota, Metal2, [(1.55,-5.49,5.78,-5.29), (7.145,-3.265,7.435,-1.695), (7.145,-2.005,7.435,-0.085), (7.145,-2.005,17.815,-1.695), (-3.075,3.315,2.615,3.515)])
R(c_2stage_ota, Metal2_pin, [(1.55,-5.49,1.81,-5.29), (17.525,-2.005,17.815,-1.695), (-3.075,3.315,-2.815,3.515)])
c_2stage_ota.add(gdstk.Reference(pmoshv_5, (-0.38,0.66)))
c_2stage_ota.add(gdstk.Reference(via_stack_5, (0.445,0.19), rotation=pi, x_reflection=True))
c_2stage_ota.add(gdstk.Reference(via_stack_5, (0.445,0.19), rotation=pi, x_reflection=True))
c_2stage_ota.add(gdstk.Reference(via_stack_5, (14.135,0.19)))
c_2stage_ota.add(gdstk.Reference(via_stack_5, (14.135,0.19)))
c_2stage_ota.add(gdstk.Reference(via_stack, (7.29,-0.185), rotation=pi))
c_2stage_ota.add(gdstk.Reference(via_stack_1, (2.265,3.415), rotation=3*pi/2))
c_2stage_ota.add(gdstk.Reference(nmoshv_9, (3.59,-4.72)))
c_2stage_ota.add(gdstk.Reference(via_stack_1, (5.43,-5.39), rotation=pi/2, x_reflection=True))
c_2stage_ota.add(gdstk.Reference(via_stack_5, (4.31,-3.45), x_reflection=True))
c_2stage_ota.add(gdstk.Reference(via_stack_5, (10.25,-5.19), rotation=pi, x_reflection=True))
c_2stage_ota.add(gdstk.Reference(via_stack, (7.29,-3.165), x_reflection=True))
c_2stage_ota.add(gdstk.Label('VDD', (7.615,6.4), layer=8, texttype=0))
c_2stage_ota.add(gdstk.Label('VSS', (7.475,-7.27), layer=8, texttype=0))
c_2stage_ota.add(gdstk.Label('gate_M2', (-3.22,3.375), layer=10, texttype=0))
c_2stage_ota.add(gdstk.Label('gate_M12', (1.405,-5.35), layer=10, texttype=0))
c_2stage_ota.add(gdstk.Label('drain_M2_M12_outputOTA', (17.695,-1.685), layer=10, texttype=0))

pmoshv_6 = lib.new_cell('pmosHV$6')
R(pmoshv_6, Activ, [(-1.62,-1.32,-1.32,2.75), (2.4,-1.32,2.7,2.75), (0,0,0.3,0.3), (0,0,1.08,1.43), (0.78,0,1.08,0.3), (-1.62,2.75,2.7,3.05)])
P(pmoshv_6, Activ, [(-1.62,-1.62),(-1.62,2.75),(-1.32,2.75),(-1.32,-1.32),(2.4,-1.32),(2.4,2.75),(-1.62,2.75),(-1.62,3.05),(2.7,3.05),(2.7,-1.62)])
R(pmoshv_6, GatPoly, [(0.34,-0.18,0.74,1.61)])
R(pmoshv_6, GatPoly_2, [(0.34,-0.18,0.74,1.61)])
A(pmoshv_6, Cont, -1.55, -1.55, 0.16, 0.16, 6, 2, 0.34, 4.37)
A(pmoshv_6, Cont, 0.77, -1.55, 0.16, 0.16, 6, 2, 0.34, 4.37)
A(pmoshv_6, Cont, -1.55, -1.21, 0.16, 0.16, 1, 5, 0, 0.34)
A(pmoshv_6, Cont, 2.47, -1.21, 0.16, 0.16, 1, 5, 0, 0.34)
A(pmoshv_6, Cont, 0.07, 0.07, 0.16, 0.16, 1, 3, 0, 0.375)
A(pmoshv_6, Cont, 0.85, 0.07, 0.16, 0.16, 1, 3, 0, 0.375)
A(pmoshv_6, Cont, -1.55, 0.78, 0.16, 0.16, 1, 6, 0, 0.34)
A(pmoshv_6, Cont, 2.47, 0.78, 0.16, 0.16, 1, 6, 0, 0.34)
R(pmoshv_6, Cont, [(0.07,1.2,0.23,1.36), (0.85,1.2,1.01,1.36)])
R(pmoshv_6, Metal1, [(-1.62,-1.62,2.7,-1.32), (-1.62,-1.32,-1.32,2.75), (2.4,-1.32,2.7,2.75), (0.07,0,0.23,1.43), (0.85,0,1.01,1.43), (-1.62,2.75,2.7,3.05)])
R(pmoshv_6, Metal1_pin, [(0.07,0,0.23,1.43), (0.85,0,1.01,1.43)])
R(pmoshv_6, pSD, [(-0.18,-0.4,1.26,1.83)])
R(pmoshv_6, NWell, [(-1.97,-1.97,3.05,3.4), (-0.62,-0.62,1.7,2.05)])
R(pmoshv_6, nBuLay, [(-1.97,-0.97,-0.97,2.4), (2.05,-0.97,3.05,2.4), (-1.97,2.4,3.05,3.4)])
P(pmoshv_6, nBuLay, [(-1.97,-1.97),(-1.97,2.4),(-0.97,2.4),(-0.97,-0.97),(2.05,-0.97),(2.05,2.4),(-1.97,2.4),(-1.97,3.4),(3.05,3.4),(3.05,-1.97)])
R(pmoshv_6, Substrate, [(0.78,0,1.08,0.3)])
R(pmoshv_6, ThickGateOx, [(-0.62,-0.62,1.7,2.05)])
R(pmoshv_6, HeatTrans, [(0.34,-0.18,0.74,1.61)])
pmoshv_6.add(gdstk.Label('pmosHV', (0.54,0.715), layer=63, texttype=0))
pmoshv_6.add(gdstk.Label('well', (0.54,-1.47), layer=63, texttype=0))
pmoshv_6.add(gdstk.Label('pmos', (0.54,0.715), layer=51, texttype=0))

nmoshv_7 = lib.new_cell('nmosHV$7')
R(nmoshv_7, Activ, [(-1.27,-1.22,-0.97,2.27), (2.1,-1.22,2.4,2.27), (0,0,0.3,0.3), (0,0,1.13,1.05), (0.83,0,1.13,0.3), (-1.27,2.27,2.4,2.57)])
P(nmoshv_7, Activ, [(-1.27,-1.52),(-1.27,2.27),(-0.97,2.27),(-0.97,-1.22),(2.1,-1.22),(2.1,2.27),(-1.27,2.27),(-1.27,2.57),(2.4,2.57),(2.4,-1.52)])
R(nmoshv_7, GatPoly, [(0.34,-0.18,0.79,1.23)])
R(nmoshv_7, GatPoly_2, [(0.34,-0.18,0.79,1.23)])
A(nmoshv_7, Cont, -1.2, -1.45, 0.16, 0.16, 5, 2, 0.34, 3.79)
A(nmoshv_7, Cont, 0.81, -1.45, 0.16, 0.16, 5, 2, 0.34, 3.79)
A(nmoshv_7, Cont, -1.2, -1.11, 0.16, 0.16, 1, 5, 0, 0.34)
A(nmoshv_7, Cont, 2.17, -1.11, 0.16, 0.16, 1, 5, 0, 0.34)
A(nmoshv_7, Cont, 0.07, 0.07, 0.16, 0.16, 1, 3, 0, 0.375)
A(nmoshv_7, Cont, 0.9, 0.07, 0.16, 0.16, 1, 3, 0, 0.375)
A(nmoshv_7, Cont, -1.2, 0.64, 0.16, 0.16, 1, 5, 0, 0.34)
A(nmoshv_7, Cont, 2.17, 0.64, 0.16, 0.16, 1, 5, 0, 0.34)
R(nmoshv_7, Metal1, [(-1.27,-1.52,2.4,-1.22), (-1.27,-1.22,-0.97,2.27), (2.1,-1.22,2.4,2.27), (0.07,0,0.23,1.05), (0.9,0,1.06,1.05), (-1.27,2.27,2.4,2.57)])
R(nmoshv_7, Metal1_pin, [(0.07,0,0.23,1.05), (0.9,0,1.06,1.05)])
R(nmoshv_7, pSD, [(-1.3,-1.19,-0.94,2.24), (2.07,-1.19,2.43,2.24), (-1.3,2.24,2.43,2.6)])
P(nmoshv_7, pSD, [(-1.3,-1.55),(-1.3,2.24),(-0.94,2.24),(-0.94,-1.19),(2.07,-1.19),(2.07,2.24),(-1.3,2.24),(-1.3,2.6),(2.43,2.6),(2.43,-1.55)])
R(nmoshv_7, Substrate, [(-1.3,-1.19,-0.94,2.24), (2.07,-1.19,2.43,2.24), (-1.3,2.24,2.43,2.6)])
P(nmoshv_7, Substrate, [(-1.3,-1.55),(-1.3,2.24),(-0.94,2.24),(-0.94,-1.19),(2.07,-1.19),(2.07,2.24),(-1.3,2.24),(-1.3,2.6),(2.43,2.6),(2.43,-1.55)])
R(nmoshv_7, ThickGateOx, [(-0.27,-0.52,1.4,1.57)])
R(nmoshv_7, HeatTrans, [(0.34,-0.18,0.79,1.23)])
nmoshv_7.add(gdstk.Label('nmosHV', (0.565,0.525), layer=63, texttype=0))
nmoshv_7.add(gdstk.Label('sub!', (0.565,-1.37), layer=63, texttype=0))
nmoshv_7.add(gdstk.Label('nmosHV', (0.565,0.525), layer=51, texttype=0))

inverter_hv = lib.new_cell('inverter_hv')
R(inverter_hv, GatPoly, [(6.61,6.5,6.91,7.14), (6.61,6.635,8.215,6.935), (6.615,11.33,6.915,11.97), (6.615,11.535,8.06,11.835)])
R(inverter_hv, Metal1, [(7.91,4.48,8.18,6.45), (8.08,7.12,8.37,8.09), (8.08,10.25,8.37,11.375), (8.07,11.995,8.37,14.965)])
R(inverter_hv, Metal1_pin, [(7.91,4.48,8.18,4.64), (8.07,14.775,8.37,14.965)])
R(inverter_hv, Metal2, [(6.665,6.6,6.865,12), (8.08,8.08,8.37,10.455), (4.375,8.885,6.865,9.175), (8.08,8.9,11.885,9.175)])
R(inverter_hv, Metal2_pin, [(4.375,8.885,4.75,9.175), (11.565,8.9,11.885,9.175)])
inverter_hv.add(gdstk.Reference(pmoshv_6, (8.935,11.145), rotation=pi/2))
inverter_hv.add(gdstk.Reference(nmoshv_7, (8.575,6.22), rotation=pi/2))
inverter_hv.add(gdstk.Reference(via_stack_3, (6.765,11.65), rotation=3*pi/2))
inverter_hv.add(gdstk.Reference(via_stack_3, (6.76,6.82), rotation=3*pi/2))
inverter_hv.add(gdstk.Reference(via_stack, (8.225,10.355)))
inverter_hv.add(gdstk.Reference(via_stack, (8.225,7.985)))
inverter_hv.add(gdstk.Label('VDD', (8.125,14.95), layer=8, texttype=0))
inverter_hv.add(gdstk.Label('VSS', (8.13,4.475), layer=8, texttype=0))
inverter_hv.add(gdstk.Label('vout_vinh', (11.885,9.17), layer=10, texttype=0))
inverter_hv.add(gdstk.Label('VINH', (4.34,9.145), layer=10, texttype=0))

pmos_1 = lib.new_cell('pmos$1')
R(pmos_1, Activ, [(-1.31,-1.01,-1.01,2.13), (1.82,-1.01,2.12,2.13), (0,0,0.3,0.3), (0,0,0.81,1.12), (0.51,0,0.81,0.3), (-1.31,2.13,2.12,2.43)])
P(pmos_1, Activ, [(-1.31,-1.31),(-1.31,2.13),(-1.01,2.13),(-1.01,-1.01),(1.82,-1.01),(1.82,2.13),(-1.31,2.13),(-1.31,2.43),(2.12,2.43),(2.12,-1.31)])
R(pmos_1, GatPoly, [(0.34,-0.18,0.47,1.3), (0.34,-0.18,0.47,1.3)])
A(pmos_1, Cont, -1.24, -1.24, 0.16, 0.16, 5, 2, 0.34, 3.44)
A(pmos_1, Cont, 0.53, -1.24, 0.16, 0.16, 5, 2, 0.34, 3.44)
A(pmos_1, Cont, -1.24, -0.9, 0.16, 0.16, 1, 4, 0, 0.34)
A(pmos_1, Cont, 1.89, -0.9, 0.16, 0.16, 1, 4, 0, 0.34)
A(pmos_1, Cont, 0.07, 0.07, 0.16, 0.16, 1, 3, 0, 0.41)
A(pmos_1, Cont, 0.58, 0.07, 0.16, 0.16, 1, 3, 0, 0.41)
A(pmos_1, Cont, -1.24, 0.5, 0.16, 0.16, 1, 5, 0, 0.34)
A(pmos_1, Cont, 1.89, 0.5, 0.16, 0.16, 1, 5, 0, 0.34)
R(pmos_1, Metal1, [(-1.31,-1.31,2.12,-1.01), (-1.31,-1.01,-1.01,2.13), (1.82,-1.01,2.12,2.13), (0.07,0,0.23,1.12), (0.07,0,0.23,1.12), (0.58,0,0.74,1.12), (0.58,0,0.74,1.12), (-1.31,2.13,2.12,2.43)])
R(pmos_1, pSD, [(-0.18,-0.3,0.99,1.42)])
R(pmos_1, NWell, [(-1.66,-1.66,2.47,2.78), (-0.31,-0.31,1.12,1.43)])
R(pmos_1, nBuLay, [(-1.66,-0.66,-0.66,1.78), (1.47,-0.66,2.47,1.78), (-1.66,1.78,2.47,2.78)])
P(pmos_1, nBuLay, [(-1.66,-1.66),(-1.66,1.78),(-0.66,1.78),(-0.66,-0.66),(1.47,-0.66),(1.47,1.78),(-1.66,1.78),(-1.66,2.78),(2.47,2.78),(2.47,-1.66)])
R(pmos_1, Substrate, [(0.51,0,0.81,0.3)])
R(pmos_1, HeatTrans, [(0.34,-0.18,0.47,1.3)])
pmos_1.add(gdstk.Label('pmos', (0.405,0.56), layer=63, texttype=0))
pmos_1.add(gdstk.Label('well', (0.405,-1.16), layer=63, texttype=0))
pmos_1.add(gdstk.Label('pmos', (0.405,0.56), layer=51, texttype=0))

nmos_1 = lib.new_cell('nmos$1')
R(nmos_1, Activ, [(-1,-0.88,-0.7,1.62), (1.51,-0.88,1.81,1.62), (0,0,0.3,0.3), (0,0,0.81,0.74), (0.51,0,0.81,0.3), (-1,1.62,1.81,1.92)])
P(nmos_1, Activ, [(-1,-1.18),(-1,1.62),(-0.7,1.62),(-0.7,-0.88),(1.51,-0.88),(1.51,1.62),(-1,1.62),(-1,1.92),(1.81,1.92),(1.81,-1.18)])
R(nmos_1, GatPoly, [(0.34,-0.18,0.47,0.92)])
R(nmos_1, GatPoly_2, [(0.34,-0.18,0.47,0.92)])
A(nmos_1, Cont, -0.93, -1.11, 0.16, 0.16, 4, 2, 0.34, 2.8)
A(nmos_1, Cont, 0.56, -1.11, 0.16, 0.16, 4, 2, 0.34, 2.8)
A(nmos_1, Cont, -0.93, -0.77, 0.16, 0.16, 1, 3, 0, 0.34)
A(nmos_1, Cont, 1.58, -0.77, 0.16, 0.16, 1, 3, 0, 0.34)
A(nmos_1, Cont, -0.93, 0.33, 0.16, 0.16, 1, 4, 0, 0.34)
A(nmos_1, Cont, 1.58, 0.33, 0.16, 0.16, 1, 4, 0, 0.34)
R(nmos_1, Cont, [(0.07,0.07,0.23,0.23), (0.58,0.07,0.74,0.23), (0.07,0.51,0.23,0.67), (0.58,0.51,0.74,0.67)])
R(nmos_1, Metal1, [(-1,-1.18,1.81,-0.88), (-1,-0.88,-0.7,1.62), (1.51,-0.88,1.81,1.62), (0.07,0,0.23,0.74), (0.58,0,0.74,0.74), (-1,1.62,1.81,1.92)])
R(nmos_1, Metal1_pin, [(0.07,0,0.23,0.74), (0.58,0,0.74,0.74)])
R(nmos_1, pSD, [(-1.03,-0.85,-0.67,1.59), (1.48,-0.85,1.84,1.59), (-1.03,1.59,1.84,1.95)])
P(nmos_1, pSD, [(-1.03,-1.21),(-1.03,1.59),(-0.67,1.59),(-0.67,-0.85),(1.48,-0.85),(1.48,1.59),(-1.03,1.59),(-1.03,1.95),(1.84,1.95),(1.84,-1.21)])
R(nmos_1, Substrate, [(-1.03,-0.85,-0.67,1.59), (1.48,-0.85,1.84,1.59), (-1.03,1.59,1.84,1.95)])
P(nmos_1, Substrate, [(-1.03,-1.21),(-1.03,1.59),(-0.67,1.59),(-0.67,-0.85),(1.48,-0.85),(1.48,1.59),(-1.03,1.59),(-1.03,1.95),(1.84,1.95),(1.84,-1.21)])
R(nmos_1, HeatTrans, [(0.34,-0.18,0.47,0.92)])
nmos_1.add(gdstk.Label('nmos', (0.405,0.37), layer=63, texttype=0))
nmos_1.add(gdstk.Label('sub!', (0.405,-1.03), layer=63, texttype=0))
nmos_1.add(gdstk.Label('nmos', (0.405,0.37), layer=51, texttype=0))

inverter_lv = lib.new_cell('inverter_lv')
R(inverter_lv, GatPoly, [(5.03,3.995,5.34,4.125), (4.44,7.265,4.745,8.135), (4.44,8.005,5.175,8.135)])
R(inverter_lv, Metal1, [(5.655,2.4,5.935,3.31), (5.655,3.01,5.935,3.885), (5.69,4.235,5.9,4.925), (5.685,7.045,5.895,7.895), (5.685,8.245,5.94,10.895)])
R(inverter_lv, Metal1_pin, [(5.655,2.4,5.935,2.64), (5.685,10.6,5.94,10.895)])
R(inverter_lv, Metal2, [(4.935,3.695,5.23,6.005), (5.685,4.635,5.895,7.335), (5.685,5.795,8.75,6), (2.68,5.8,5.23,6.005), (4.44,5.8,4.745,8.135)])
R(inverter_lv, Metal2_pin, [(8.49,5.795,8.75,6), (2.68,5.8,2.945,6.005)])
inverter_lv.add(gdstk.Reference(pmos_1, (5.23,8.475), rotation=3*pi/2))
inverter_lv.add(gdstk.Reference(via_stack, (5.795,4.78), rotation=3*pi/2))
inverter_lv.add(gdstk.Reference(via_stack, (5.79,7.19), rotation=3*pi/2))
inverter_lv.add(gdstk.Reference(nmos_1, (5.425,4.465), rotation=3*pi/2))
inverter_lv.add(gdstk.Reference(via_stack_1, (5.09,4.045)))
inverter_lv.add(gdstk.Reference(via_stack_1, (4.595,7.615)))
inverter_lv.add(gdstk.Label('VDD', (5.665,10.9), layer=8, texttype=2))
inverter_lv.add(gdstk.Label('VSS', (5.855,2.27), layer=8, texttype=2))
inverter_lv.add(gdstk.Label('vclk', (8.755,5.945), layer=10, texttype=2))
inverter_lv.add(gdstk.Label('vin_inv', (2.66,5.995), layer=10, texttype=2))

clock_extractor = lib.new_cell('clock_extractor')
R(clock_extractor, GatPoly, [(-5.51,6.82,-0.11,11.26), (-4.8,7.35,0.89,9.605)])
clock_extractor.add(gdstk.Reference(current_mirror_loadn, (-15.495,-11.26)))
clock_extractor.add(gdstk.Reference(iput_diff, (-14.965,0.265)))
clock_extractor.add(gdstk.Reference(current_mirror3, (-24.26,15.615)))
clock_extractor.add(gdstk.Reference(current_mirror2, (-27.84,-20.73)))
clock_extractor.add(gdstk.Reference(c_2stage_ota, (-3.16,0.32)))
clock_extractor.add(gdstk.Reference(inverter_hv, (15.535,-4.255)))
clock_extractor.add(gdstk.Reference(inverter_lv, (25.89,-1.145)))

lib.write_gds('clock_extractor.gds')
